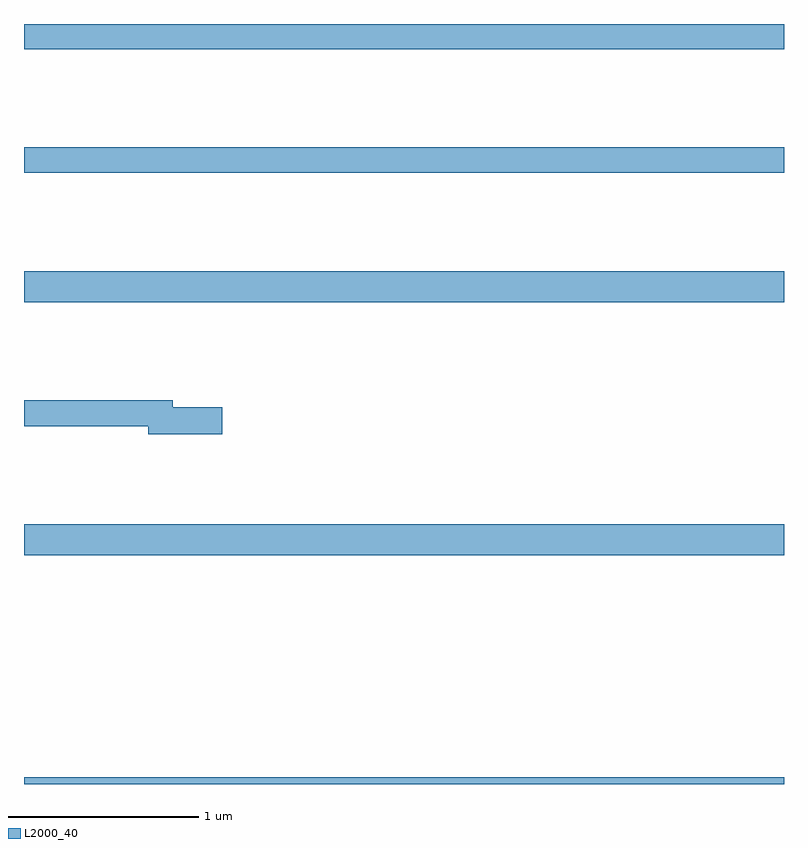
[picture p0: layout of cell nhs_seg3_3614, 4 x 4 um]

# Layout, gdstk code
import gdstk
lib = gdstk.Library(unit=1e-6, precision=1e-09)
def R(c, l, rs):  # rectangles x0, y0, x1, y1
    for r in rs: c.add(gdstk.rectangle(r[:2], r[2:], *l))
def P(c, l, *ps):  # polygons
    for p in ps: c.add(gdstk.Polygon(p, *l))
L2000_40 = (2000, 40)

nhs_seg3_3614 = lib.new_cell('nhs_seg3_3614')
R(nhs_seg3_3614, L2000_40, [(299,678.4,303,678.436), (299,679.604,303,679.768), (299,680.936,303,681.1), (299,681.616,303,681.752), (299,682.268,303,682.4)])
P(nhs_seg3_3614, L2000_40, [(300.043,680.384),(299.782,680.384),(299.782,680.42),(299,680.42),(299,680.284),(299.654,680.284),(299.654,680.242),(300.043,680.242)])

lib.write_gds('nhs_seg3_3614.gds')
